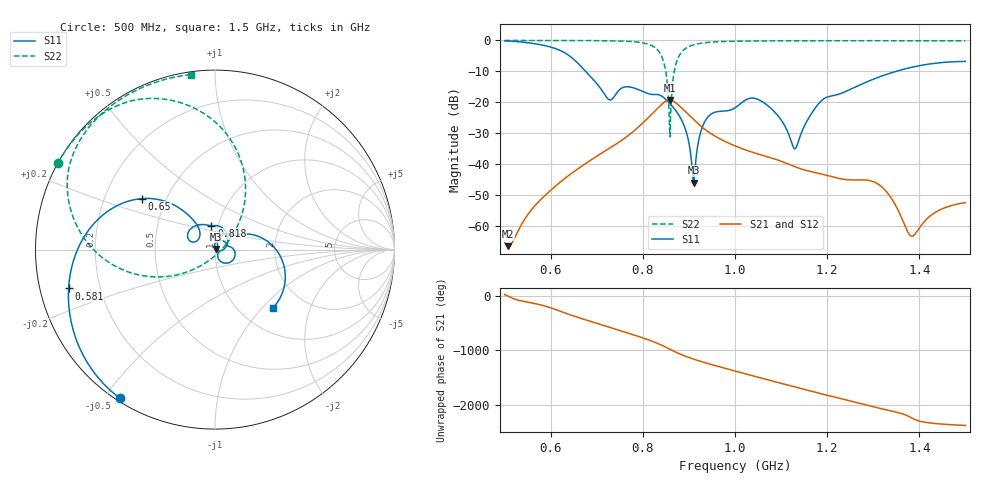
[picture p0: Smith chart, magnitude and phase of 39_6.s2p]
! TOUCHSTONE file generated by CST MICROWAVE STUDIO
! Date and time: Fri Oct  2 19:02:05 2020
! Project name: Scenario_1_Free_Space_out_of_line.cst
! Parameters = {Lambda=346.42; Step_1=17.321; dy1=-311.318; dx1=1039; L_HA=400; MT=2.54; Rad_Dielectric=30; Rad_Lower=7.3; Rad_Upper=30; a_HA=580; a_WG=246; b_HA=500; b_WG=121; c_HA=0; c_WG=187; d_feed=85; h_feed=15; h_lower=18; h_upper=40}
! Header version: 2018
! Port assignment regex: !\s*Touchstone port\s*([0-9]+)\s*=\s*(CST MWS port|CST DS port)\s*([0-9]+|Zmin|Zmax)\s*\(\"(.*)\"\)(\s*mode\s*([0-9]+))?.*
! Touchstone port assignment:
! Touchstone port 1 = CST MWS port 1 ("")
! Touchstone port 2 = CST MWS port 2 ("")
# GHz S DB R 50
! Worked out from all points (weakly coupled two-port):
!   1003 points, 500 MHz to 1.5 GHz, reference 50 ohm
!   highest |S21| = -19.24 dB at 858 MHz (marker M1); lowest = -66.5 dB at 508 MHz (marker M2)
!   lowest |S11| = -46.0 dB at 910 MHz (marker M3), VSWR 1.01, Z = 50.4 + j0.301 ohm
!   |S11| at or under -10 dB: 675.9 MHz to 1.349 GHz (673.5 MHz wide, 66.5 % of centre)
!   |S22| runs from -31.2 to 0.0 dB; largest |S21 - S12| = 5.1e-05
!   S11 on the Smith chart (normalised r, x): 500 MHz: 0.01, -0.55; 581 MHz: 0.09, -0.13; 650 MHz: 0.37, +0.28; 818 MHz: 0.93, +0.25; 1.5 GHz: 1.40, -1.15
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0.5  -0.15 -122.6  -65.46 32.0  -65.46 32.0  -0.01 151.2
0.508  -0.19 -126.3  -66.53 0.6  -66.53 0.9  -0.01 150.6
0.581  -1.47 -165.1  -51.08 -165.4  -51.05 -165.4  -0.01 145.6
0.65  -6.11 144.9  -42.47 -4.8  -42.47 -4.8  -0.03 139.9
0.667  -8.59 134.9  -40.70 -51.1  -40.70 -51.1  -0.04 138.4
0.727  -19.20 143.3  -34.91 148.2  -34.91 148.2  -0.12 131.3
0.763  -14.99 145.5  -31.34 52.7  -31.34 52.7  -0.25 124.8
0.818  -17.43 98.5  -24.08 -103.6  -24.09 -103.6  -1.57 102.5
0.834  -17.55 80.1  -21.68 -157.6  -21.68 -157.6  -3.41 86.8
0.847  -18.70 58.8  -19.90 152.1  -19.90 152.1  -8.03 64.6
0.858  -20.32 42.3  -19.24 104.3  -19.24 104.3  -28.73 0.6
0.876  -23.66 16.3  -20.76 30.0  -20.76 30.0  -5.82 -166.5
0.895  -29.99 -11.1  -23.36 -35.2  -23.35 -35.1  -2.36 172.1
0.91  -45.96 36.4  -25.56 -80.5  -25.56 -80.5  -1.42 162.8
0.938  -25.39 68.5  -29.14 -154.4  -29.14 -154.4  -0.68 152.2
1  -21.80 12.4  -34.10 59.2  -34.10 59.2  -0.26 140.3
1.061  -19.98 -48.8  -37.20 -80.4  -37.20 -80.4  -0.16 133.3
1.13  -35.06 2.6  -40.84 124.5  -40.84 124.5  -0.11 127.2
1.167  -23.40 71.5  -42.49 41.3  -42.49 41.4  -0.09 124.2
1.334  -10.71 9.9  -49.92 50.2  -49.95 50.4  -0.09 111.5
1.383  -8.70 -6.2  -63.30 -85.7  -63.53 -86.0  -0.10 107.7
1.5  -6.79 -45.1  -52.45 134.0  -52.43 134.7  -0.14 97.9
